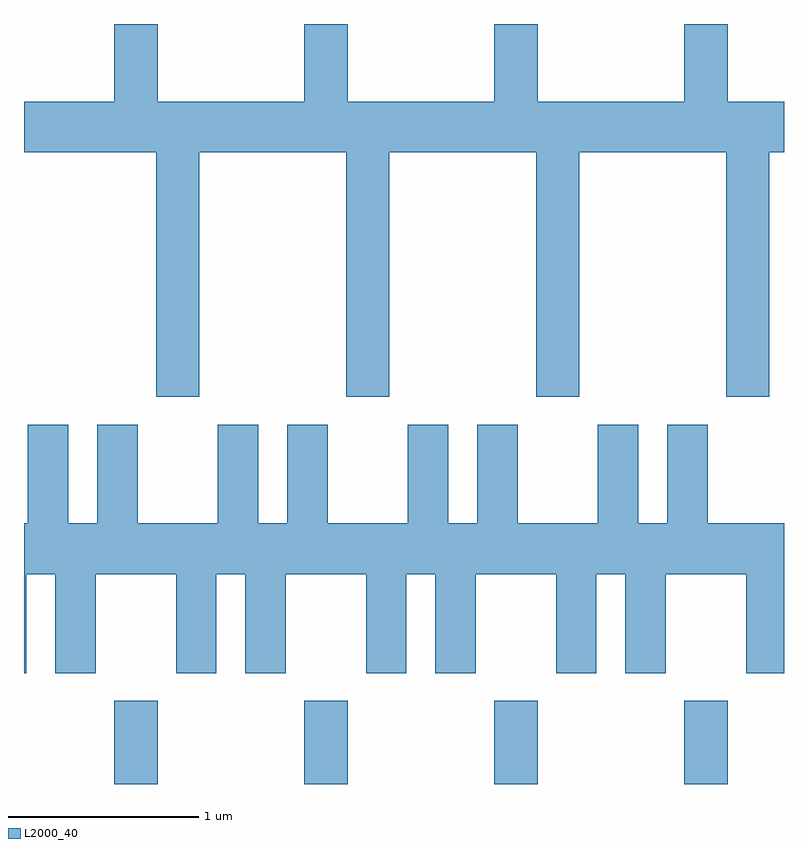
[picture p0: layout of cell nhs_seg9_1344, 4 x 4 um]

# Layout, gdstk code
import gdstk
lib = gdstk.Library(unit=1e-6, precision=1e-09)
def R(c, l, rs):  # rectangles x0, y0, x1, y1
    for r in rs: c.add(gdstk.rectangle(r[:2], r[2:], *l))
def A(c, l, x, y, w, h, nx, ny, dx, dy):  # array of equal rectangles
    R(c, l, [(x+i*dx, y+j*dy, x+i*dx+w, y+j*dy+h) for i in range(nx) for j in range(ny)])
def P(c, l, *ps):  # polygons
    for p in ps: c.add(gdstk.Polygon(p, *l))
L2000_40 = (2000, 40)

nhs_seg9_1344 = lib.new_cell('nhs_seg9_1344')
A(nhs_seg9_1344, L2000_40, 224.086, 2048.432, 0.228, 0.437, 4, 1, 1, 0)
P(nhs_seg9_1344, L2000_40, [(224.534,2051.756),(225.306,2051.756),(225.306,2050.471),(225.534,2050.471),(225.534,2051.756),(226.306,2051.756),(226.306,2050.471),(226.534,2050.471),(226.534,2051.756),(227.306,2051.756),(227.306,2050.471),(227.534,2050.471),(227.534,2051.756),(227.611,2051.756),(227.611,2052.024),(227.314,2052.024),(227.314,2052.432),(227.086,2052.432),(227.086,2052.024),(226.314,2052.024),(226.314,2052.432),(226.086,2052.432),(226.086,2052.024),(225.314,2052.024),(225.314,2052.432),(225.086,2052.432),(225.086,2052.024),(224.314,2052.024),(224.314,2052.432),(224.086,2052.432),(224.086,2052.024),(223.611,2052.024),(223.611,2051.756),(224.306,2051.756),(224.306,2050.471),(224.534,2050.471)],
  [(225.989,2049.536),(226.411,2049.536),(226.411,2049.016),(226.624,2049.016),(226.624,2049.536),(226.776,2049.536),(226.776,2049.016),(226.989,2049.016),(226.989,2049.536),(227.411,2049.536),(227.411,2049.016),(227.611,2049.016),(227.611,2049.804),(227.209,2049.804),(227.209,2050.324),(226.996,2050.324),(226.996,2049.804),(226.844,2049.804),(226.844,2050.324),(226.631,2050.324),(226.631,2049.804),(226.209,2049.804),(226.209,2050.324),(225.996,2050.324),(225.996,2049.804),(225.844,2049.804),(225.844,2050.324),(225.631,2050.324),(225.631,2049.804),(225.209,2049.804),(225.209,2050.324),(224.996,2050.324),(224.996,2049.804),(224.844,2049.804),(224.844,2050.324),(224.631,2050.324),(224.631,2049.804),(224.209,2049.804),(224.209,2050.324),(223.996,2050.324),(223.996,2049.804),(223.844,2049.804),(223.844,2050.324),(223.631,2050.324),(223.631,2049.804),(223.611,2049.804),(223.611,2049.016),(223.624,2049.016),(223.624,2049.536),(223.776,2049.536),(223.776,2049.016),(223.989,2049.016),(223.989,2049.536),(224.411,2049.536),(224.411,2049.016),(224.624,2049.016),(224.624,2049.536),(224.776,2049.536),(224.776,2049.016),(224.989,2049.016),(224.989,2049.536),(225.411,2049.536),(225.411,2049.016),(225.624,2049.016),(225.624,2049.536),(225.776,2049.536),(225.776,2049.016),(225.989,2049.016)])

lib.write_gds('nhs_seg9_1344.gds')
